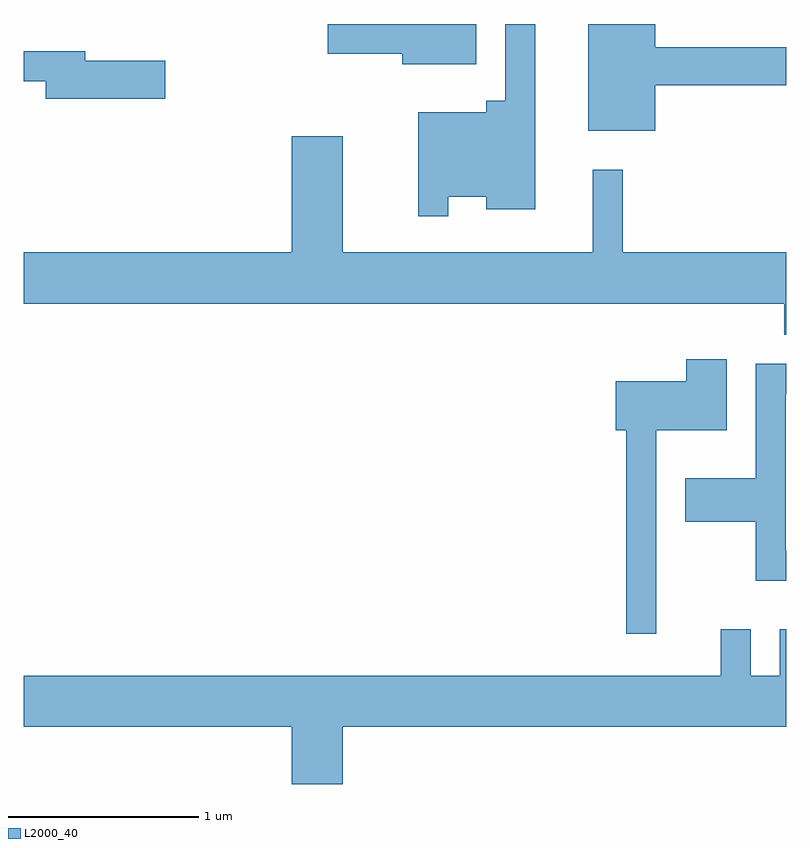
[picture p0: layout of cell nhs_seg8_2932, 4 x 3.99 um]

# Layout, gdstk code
import gdstk
lib = gdstk.Library(unit=1e-6, precision=1e-09)
def P(c, l, *ps):  # polygons
    for p in ps: c.add(gdstk.Polygon(p, *l))
L2000_40 = (2000, 40)

nhs_seg8_2932 = lib.new_cell('nhs_seg8_2932')
P(nhs_seg8_2932, L2000_40, [(275.839,1821.436),(276.036,1821.436),(276.036,1821.371),(276.294,1821.371),(276.294,1822.342),(276.136,1822.342),(276.136,1821.939),(276.036,1821.939),(276.036,1821.879),(275.681,1821.879),(275.681,1821.333),(275.839,1821.333)],
  [(275.984,1822.342),(275.206,1822.342),(275.206,1822.186),(275.596,1822.186),(275.596,1822.131),(275.984,1822.131)],
  [(276.924,1822.021),(277.611,1822.021),(277.611,1822.219),(276.924,1822.219),(276.924,1822.342),(276.571,1822.342),(276.571,1821.781),(276.924,1821.781)],
  [(274.354,1822.149),(273.934,1822.149),(273.934,1822.199),(273.611,1822.199),(273.611,1822.041),(273.726,1822.041),(273.726,1821.951),(274.354,1821.951)],
  [(277.611,1821.144),(276.754,1821.144),(276.754,1821.578),(276.596,1821.578),(276.596,1821.144),(275.284,1821.144),(275.284,1821.754),(275.016,1821.754),(275.016,1821.144),(273.611,1821.144),(273.611,1820.876),(277.601,1820.876),(277.601,1820.711),(277.611,1820.711)],
  [(276.929,1820.211),(277.299,1820.211),(277.299,1820.584),(277.086,1820.584),(277.086,1820.469),(276.716,1820.469),(276.716,1820.211),(276.771,1820.211),(276.771,1819.143),(276.929,1819.143)],
  [(277.611,1819.579),(277.609,1819.579),(277.609,1820.401),(277.611,1820.401),(277.611,1820.559),(277.451,1820.559),(277.451,1819.959),(277.081,1819.959),(277.081,1819.731),(277.451,1819.731),(277.451,1819.421),(277.611,1819.421)],
  [(275.284,1818.656),(277.611,1818.656),(277.611,1819.168),(277.576,1819.168),(277.576,1818.924),(277.424,1818.924),(277.424,1819.168),(277.266,1819.168),(277.266,1818.924),(273.611,1818.924),(273.611,1818.656),(275.016,1818.656),(275.016,1818.356),(275.284,1818.356)])

lib.write_gds('nhs_seg8_2932.gds')
